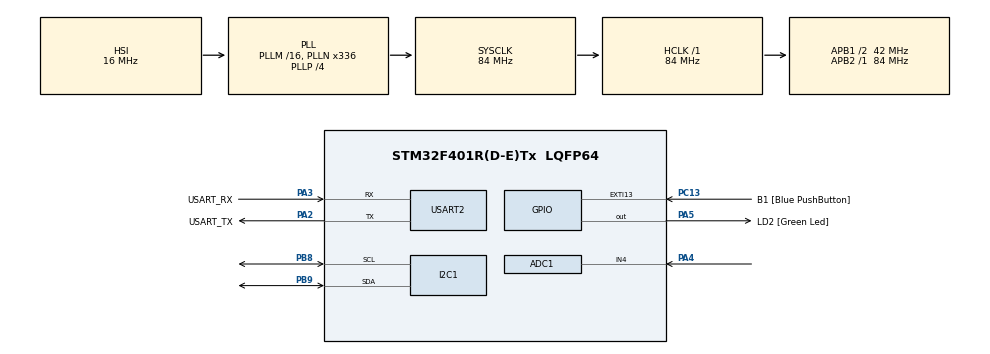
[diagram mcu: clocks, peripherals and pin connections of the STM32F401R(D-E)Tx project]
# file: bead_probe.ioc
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ADC1.Channel-0\#ChannelRegularConversion=ADC_CHANNEL_4
ADC1.ClockPrescaler=ADC_CLOCK_SYNC_PCLK_DIV4
ADC1.ContinuousConvMode=ENABLE
ADC1.DMAContinuousRequests=ENABLE
ADC1.NbrOfConversionFlag=1
ADC1.Rank-0\#ChannelRegularConversion=1
ADC1.SamplingTime-0\#ChannelRegularConversion=ADC_SAMPLETIME_28CYCLES
ADC1.master=1
Dma.ADC1.0.Direction=DMA_PERIPH_TO_MEMORY
Dma.ADC1.0.FIFOMode=DMA_FIFOMODE_DISABLE
Dma.ADC1.0.Instance=DMA2_Stream0
Dma.ADC1.0.MemDataAlignment=DMA_MDATAALIGN_HALFWORD
Dma.ADC1.0.MemInc=DMA_MINC_ENABLE
Dma.ADC1.0.Mode=DMA_CIRCULAR
Dma.ADC1.0.PeriphDataAlignment=DMA_PDATAALIGN_HALFWORD
Dma.ADC1.0.PeriphInc=DMA_PINC_DISABLE
Dma.ADC1.0.Priority=DMA_PRIORITY_LOW
Dma.Request0=ADC1
Mcu.Family=STM32F4
Mcu.Name=STM32F401R(D-E)Tx
Mcu.Package=LQFP64
NVIC.DMA2_Stream0_IRQn=true\:0\:0\:false\:false\:true\:false\:true\:true
NVIC.PriorityGroup=NVIC_PRIORITYGROUP_0
PA13.GPIO_Label=TMS
PA13.Mode=Serial_Wire
PA13.Signal=SYS_JTMS-SWDIO
PA14.GPIO_Label=TCK
PA14.Mode=Serial_Wire
PA14.Signal=SYS_JTCK-SWCLK
PA2.GPIO_Label=USART_TX
PA2.GPIO_Mode=GPIO_MODE_AF_PP
PA2.GPIO_PuPd=GPIO_NOPULL
PA2.GPIO_Speed=GPIO_SPEED_FREQ_LOW
PA2.Mode=Asynchronous
PA2.Signal=USART2_TX
PA3.GPIO_Label=USART_RX
PA3.GPIO_Mode=GPIO_MODE_AF_PP
PA3.GPIO_PuPd=GPIO_NOPULL
PA3.GPIO_Speed=GPIO_SPEED_FREQ_LOW
PA3.Mode=Asynchronous
PA3.Signal=USART2_RX
PA4.Signal=ADCx_IN4
PA5.GPIO_Label=LD2 [Green Led]
PA5.GPIO_Mode=GPIO_MODE_OUTPUT_PP
PA5.GPIO_PuPd=GPIO_NOPULL
PA5.GPIO_Speed=GPIO_SPEED_FREQ_LOW
PA5.Signal=GPIO_Output
PB3.GPIO_Label=SWO
PB3.Signal=SYS_JTDO-SWO
PB8.Mode=I2C
PB8.Signal=I2C1_SCL
PB9.Mode=I2C
PB9.Signal=I2C1_SDA
PC13-ANTI_TAMP.GPIO_Label=B1 [Blue PushButton]
PC13-ANTI_TAMP.GPIO_ModeDefaultEXTI=GPIO_MODE_IT_FALLING
PC13-ANTI_TAMP.GPIO_PuPd=GPIO_NOPULL
PC13-ANTI_TAMP.Signal=GPXTI13
PC14-OSC32_IN.Mode=LSE-External-Oscillator
PC14-OSC32_IN.Signal=RCC_OSC32_IN
PC15-OSC32_OUT.Mode=LSE-External-Oscillator
PC15-OSC32_OUT.Signal=RCC_OSC32_OUT
PH0\ -\ OSC_IN.Mode=HSE-External-Clock-Source
PH0\ -\ OSC_IN.Signal=RCC_OSC_IN
PH1\ -\ OSC_OUT.Mode=HSE-External-Clock-Source
PH1\ -\ OSC_OUT.Signal=RCC_OSC_OUT
ProjectManager.HeapSize=0x200
ProjectManager.StackSize=0x400
ProjectManager.TargetToolchain=STM32CubeIDE
RCC.48MHZClocksFreq_Value=48000000
RCC.AHBFreq_Value=84000000
RCC.APB1CLKDivider=RCC_HCLK_DIV2
RCC.APB1Freq_Value=42000000
RCC.APB1TimFreq_Value=84000000
RCC.APB2Freq_Value=84000000
RCC.APB2TimFreq_Value=84000000
RCC.CortexFreq_Value=84000000
RCC.HCLKFreq_Value=84000000
RCC.HSE_VALUE=8000000
RCC.HSI_VALUE=16000000
RCC.PLLN=336
RCC.PLLP=RCC_PLLP_DIV4
RCC.PLLQ=7
RCC.SYSCLKFreq_VALUE=84000000
RCC.SYSCLKSource=RCC_SYSCLKSOURCE_PLLCLK
RCC.VCOOutputFreq_Value=336000000
SH.ADCx_IN4.0=ADC1_IN4,IN4
USART2.VirtualMode=VM_ASYNC
board=NUCLEO-F401RE

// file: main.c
/* USER CODE BEGIN Header */
/**
 ******************************************************************************
 * @file           : main.c
 * @brief          : Main program body
 ******************************************************************************
 * @attention
 *
 * Copyright (c) 2024 STMicroelectronics.
 * All rights reserved.
 *
 * This software is licensed under terms that can be found in the LICENSE file
 * in the root directory of this software component.
 * If no LICENSE file comes with this software, it is provided AS-IS.
 *
 ******************************************************************************
 */
/* USER CODE END Header */
#include "main.h"

/* USER CODE BEGIN Includes */
#include "arm_math.h"
#include "ssd1306.h"
/* USER CODE END Includes */

/* USER CODE BEGIN PD */
#define FFT_SAMPLES 4096 	//2 hatványának kell lennie
#define ADC_SAMPLING_FREQ 5320
#define ADC_BUFFER_SIZE 100
/* USER CODE END PD */

ADC_HandleTypeDef hadc1;
DMA_HandleTypeDef hdma_adc1;

I2C_HandleTypeDef hi2c1;

UART_HandleTypeDef huart2;

void SystemClock_Config(void);
static void MX_GPIO_Init(void);
static void MX_DMA_Init(void);
static void MX_USART2_UART_Init(void);
static void MX_ADC1_Init(void);
static void MX_I2C1_Init(void);
/* USER CODE BEGIN PFP */
char display_msg[64];
float32_t adc_samples[FFT_SAMPLES];
float32_t fft_output[FFT_SAMPLES];
uint32_t adcBuffer[ADC_BUFFER_SIZE];
/* USER CODE END PFP */

/* USER CODE BEGIN 0 */
void HAL_ADC_ConvCpltCallback(ADC_HandleTypeDef *hadc) {
	static int index = 0;

	if (hadc->Instance == ADC1) {

		if (index < FFT_SAMPLES) {
			 // ADC érték normálása, 12 bites ADC esetén
			adc_samples[index++] = (float32_t) HAL_ADC_GetValue(hadc) / 4095.0f;
		} else {
			index = 0;

			// DC offset eltávolítása
			float32_t sum = 0;
			for (int i = 0; i < FFT_SAMPLES; i++) {
				sum += adc_samples[i];
			}
			float32_t average = sum / FFT_SAMPLES;
			for (int i = 0; i < FFT_SAMPLES; i++) {
				adc_samples[i] -= average;
			}

			// FFT struktúra létrehozása, inicializálása, számítása
			arm_rfft_fast_instance_f32 S;
			arm_rfft_fast_init_f32(&S, FFT_SAMPLES);
			arm_rfft_fast_f32(&S, adc_samples, fft_output, 0);

			// Spektrum meghatározása
			arm_cmplx_mag_f32(fft_output, fft_output, FFT_SAMPLES / 2);

			// Domináns frekvencia meghatározása
			uint32_t maxIndex;
			float32_t maxValue;
			arm_max_f32(fft_output, FFT_SAMPLES / 2, &maxValue, &maxIndex);

			float32_t frequency = (float32_t) maxIndex
					* ((float32_t) ADC_SAMPLING_FREQ / (float32_t) FFT_SAMPLES);

			// Gitárhúr azonosítás
			char *note = "Ismeretlen";
			if (frequency >= 77 && frequency <= 87) {
				note = "E6";
			} else if (frequency >= 105 && frequency <= 115) {
				note = "A5";
			} else if (frequency >= 140 && frequency <= 150) {
				note = "D4";
			} else if (frequency >= 190 && frequency <= 200) {
				note = "G3";
			} else if (frequency >= 240 && frequency <= 250) {
				note = "B2";
			} else if (frequency >= 320 && frequency <= 340) {
				note = "E1";
			}

			//UART-ra kiírás
			snprintf(display_msg, sizeof(display_msg), "%s: %.2f\r\n", note, frequency);
			HAL_UART_Transmit(&huart2, (uint8_t*) display_msg, strlen(display_msg),
			HAL_MAX_DELAY);

			// Kijelzőre kiírni való szöve
			char display_msg[32];
			snprintf(display_msg, sizeof(display_msg), "%s: %.2f", note, frequency);

			// Kijelző törlése és adott szöveg kiírása
			ssd1306_Fill(Black);
			ssd1306_SetCursor(0, 10);
			ssd1306_WriteString(display_msg, Font_7x10, White);
			ssd1306_UpdateScreen(&hi2c1);

		}
	}
}
/* USER CODE END 0 */

int main(void) {

	/* MCU Configuration--------------------------------------------------------*/

	/* Reset of all peripherals, Initializes the Flash interface and the Systick. */
	HAL_Init();

	/* Configure the system clock */
	SystemClock_Config();

	/* Initialize all configured peripherals */
	MX_GPIO_Init();
	MX_DMA_Init();
	MX_USART2_UART_Init();
	MX_ADC1_Init();
	MX_I2C1_Init();
	/* USER CODE BEGIN 2 */
	//Megnézzük, hogy jól elindul e az ADC DMA-val
	if (HAL_ADC_Start_DMA(&hadc1, (uint32_t*) adcBuffer, ADC_BUFFER_SIZE)
			!= HAL_OK) {
		Error_Handler();
	}
	//Képernyő inicializálása
	ssd1306_Init(&hi2c1);
	/* USER CODE END 2 */

	/* Infinite loop */
	while (1) {

	}
}

void SystemClock_Config(void) {
	RCC_OscInitTypeDef RCC_OscInitStruct = { 0 };
	RCC_ClkInitTypeDef RCC_ClkInitStruct = { 0 };

	/** Configure the main internal regulator output voltage
	 */
	__HAL_RCC_PWR_CLK_ENABLE();
	__HAL_PWR_VOLTAGESCALING_CONFIG(PWR_REGULATOR_VOLTAGE_SCALE2);

	/** Initializes the RCC Oscillators according to the specified parameters
	 * in the RCC_OscInitTypeDef structure.
	 */
	RCC_OscInitStruct.OscillatorType = RCC_OSCILLATORTYPE_HSI;
	RCC_OscInitStruct.HSIState = RCC_HSI_ON;
	RCC_OscInitStruct.HSICalibrationValue = RCC_HSICALIBRATION_DEFAULT;
	RCC_OscInitStruct.PLL.PLLState = RCC_PLL_ON;
	RCC_OscInitStruct.PLL.PLLSource = RCC_PLLSOURCE_HSI;
	RCC_OscInitStruct.PLL.PLLM = 16;
	RCC_OscInitStruct.PLL.PLLN = 336;
	RCC_OscInitStruct.PLL.PLLP = RCC_PLLP_DIV4;
	RCC_OscInitStruct.PLL.PLLQ = 7;
	if (HAL_RCC_OscConfig(&RCC_OscInitStruct) != HAL_OK) {
		Error_Handler();
	}

	/** Initializes the CPU, AHB and APB buses clocks
	 */
	RCC_ClkInitStruct.ClockType = RCC_CLOCKTYPE_HCLK | RCC_CLOCKTYPE_SYSCLK
			| RCC_CLOCKTYPE_PCLK1 | RCC_CLOCKTYPE_PCLK2;
	RCC_ClkInitStruct.SYSCLKSource = RCC_SYSCLKSOURCE_PLLCLK;
	RCC_ClkInitStruct.AHBCLKDivider = RCC_SYSCLK_DIV1;
	RCC_ClkInitStruct.APB1CLKDivider = RCC_HCLK_DIV2;
	RCC_ClkInitStruct.APB2CLKDivider = RCC_HCLK_DIV1;

	if (HAL_RCC_ClockConfig(&RCC_ClkInitStruct, FLASH_LATENCY_2) != HAL_OK) {
		Error_Handler();
	}
}

static void MX_ADC1_Init(void) {

	ADC_ChannelConfTypeDef sConfig = { 0 };

	/** Configure the global features of the ADC (Clock, Resolution, Data Alignment and number of conversion)
	 */
	hadc1.Instance = ADC1;
	hadc1.Init.ClockPrescaler = ADC_CLOCK_SYNC_PCLK_DIV4;
	hadc1.Init.Resolution = ADC_RESOLUTION_12B;
	hadc1.Init.ScanConvMode = DISABLE;
	hadc1.Init.ContinuousConvMode = ENABLE;
	hadc1.Init.DiscontinuousConvMode = DISABLE;
	hadc1.Init.ExternalTrigConvEdge = ADC_EXTERNALTRIGCONVEDGE_NONE;
	hadc1.Init.ExternalTrigConv = ADC_SOFTWARE_START;
	hadc1.Init.DataAlign = ADC_DATAALIGN_RIGHT;
	hadc1.Init.NbrOfConversion = 1;
	hadc1.Init.DMAContinuousRequests = ENABLE;
	hadc1.Init.EOCSelection = ADC_EOC_SINGLE_CONV;
	if (HAL_ADC_Init(&hadc1) != HAL_OK) {
		Error_Handler();
	}

	/** Configure for the selected ADC regular channel its corresponding rank in the sequencer and its sample time.
	 */
	sConfig.Channel = ADC_CHANNEL_4;
	sConfig.Rank = 1;
	//Lassabb sample-zés, és így pontosabb értékek
	sConfig.SamplingTime = ADC_SAMPLETIME_28CYCLES;
	if (HAL_ADC_ConfigChannel(&hadc1, &sConfig) != HAL_OK) {
		Error_Handler();
	}

}

static void MX_I2C1_Init(void) {

	hi2c1.Instance = I2C1;
	hi2c1.Init.ClockSpeed = 100000;
	hi2c1.Init.DutyCycle = I2C_DUTYCYCLE_2;
	hi2c1.Init.OwnAddress1 = 0;
	hi2c1.Init.AddressingMode = I2C_ADDRESSINGMODE_7BIT;
	hi2c1.Init.DualAddressMode = I2C_DUALADDRESS_DISABLE;
	hi2c1.Init.OwnAddress2 = 0;
	hi2c1.Init.GeneralCallMode = I2C_GENERALCALL_DISABLE;
	hi2c1.Init.NoStretchMode = I2C_NOSTRETCH_DISABLE;
	if (HAL_I2C_Init(&hi2c1) != HAL_OK) {
		Error_Handler();
	}

}

static void MX_USART2_UART_Init(void) {

	huart2.Instance = USART2;
	huart2.Init.BaudRate = 115200;
	huart2.Init.WordLength = UART_WORDLENGTH_8B;
	huart2.Init.StopBits = UART_STOPBITS_1;
	huart2.Init.Parity = UART_PARITY_NONE;
	huart2.Init.Mode = UART_MODE_TX_RX;
	huart2.Init.HwFlowCtl = UART_HWCONTROL_NONE;
	huart2.Init.OverSampling = UART_OVERSAMPLING_16;
	if (HAL_UART_Init(&huart2) != HAL_OK) {
		Error_Handler();
	}

}

static void MX_DMA_Init(void) {

	/* DMA controller clock enable */
	__HAL_RCC_DMA2_CLK_ENABLE();

	/* DMA interrupt init */
	/* DMA2_Stream0_IRQn interrupt configuration */
	HAL_NVIC_SetPriority(DMA2_Stream0_IRQn, 0, 0);
	HAL_NVIC_EnableIRQ(DMA2_Stream0_IRQn);

}

static void MX_GPIO_Init(void) {
	GPIO_InitTypeDef GPIO_InitStruct = { 0 };

	/* GPIO Ports Clock Enable */
	__HAL_RCC_GPIOC_CLK_ENABLE();
	__HAL_RCC_GPIOH_CLK_ENABLE();
	__HAL_RCC_GPIOA_CLK_ENABLE();
	__HAL_RCC_GPIOB_CLK_ENABLE();

	/*Configure GPIO pin Output Level */
	HAL_GPIO_WritePin(LD2_GPIO_Port, LD2_Pin, GPIO_PIN_RESET);

	/*Configure GPIO pin : B1_Pin */
	GPIO_InitStruct.Pin = B1_Pin;
	GPIO_InitStruct.Mode = GPIO_MODE_IT_FALLING;
	GPIO_InitStruct.Pull = GPIO_NOPULL;
	HAL_GPIO_Init(B1_GPIO_Port, &GPIO_InitStruct);

	/*Configure GPIO pin : LD2_Pin */
	GPIO_InitStruct.Pin = LD2_Pin;
	GPIO_InitStruct.Mode = GPIO_MODE_OUTPUT_PP;
	GPIO_InitStruct.Pull = GPIO_NOPULL;
	GPIO_InitStruct.Speed = GPIO_SPEED_FREQ_LOW;
	HAL_GPIO_Init(LD2_GPIO_Port, &GPIO_InitStruct);

}

void Error_Handler(void) {
	__disable_irq();
	while (1) {
	}
}
